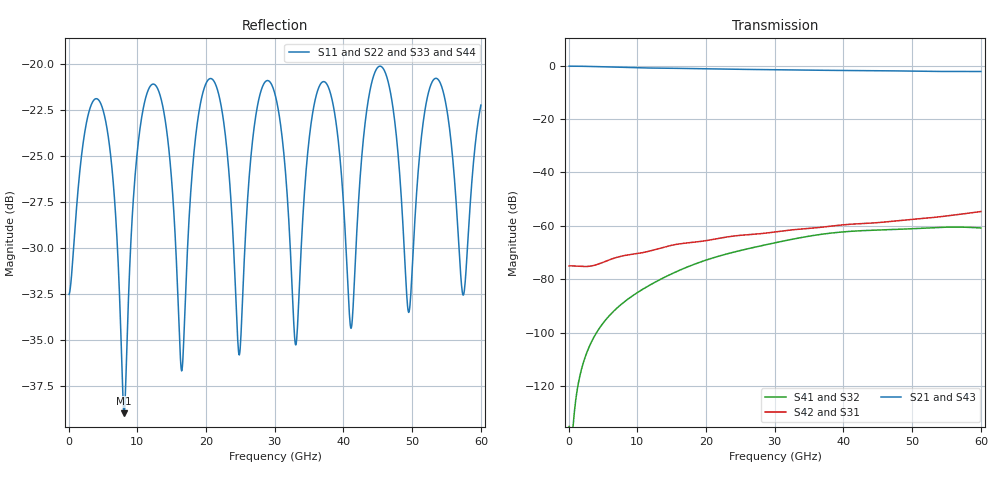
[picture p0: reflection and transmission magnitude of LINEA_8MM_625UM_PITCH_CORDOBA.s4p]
! TOUCHSTONE file generated by CST MICROWAVE STUDIO
! Date and time: Wed Oct 28 09:14:27 2026
! Project name: LINEA_8MM_625UM_PITCH_CORDOBA.cst
! Parameters = {CHANNEL_PITCH=0.625; GAP=0.00415; L=8; L1=0.02; L2=0.086; L3=0.066; NCELL=1; PITCH=0.18; START_POSITION=0.13; W1=0.003; W2=0.004; W3=0.009; WG=0.04985; gap_oxr=0.00125; linbo3_thickness=0.0002; mtx=0.002; oxiDinE=0.0014; w=0.185; ws=0.035}
! Header version: 2024
! Port assignment regex: !\s*Touchstone port\s*([0-9]+)\s*=\s*(CST MWS port|CST DES external port|CST DES block port)\s*(.+)\s* \(\"(.*)\"\)(\s*mode\s*([0-9]+))?.*
! Touchstone port assignment:
! Touchstone port 1 = CST MWS port 1 ("")
! Touchstone port 2 = CST MWS port 2 ("")
! Touchstone port 3 = CST MWS port 3 ("")
! Touchstone port 4 = CST MWS port 4 ("")
# GHz S MA R 50
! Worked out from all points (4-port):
!   1000 points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, 60 MHz to 60 GHz, reference 50 ohm
!   strongest paths, dB at 60 MHz, 15.06 GHz, 30.06 GHz, 45.06 GHz, 60 GHz:
!     S21: -0.3, -1.0, -1.5, -1.9, -2.2
!     S43: -0.3, -1.0, -1.5, -1.9, -2.2
!     S42: -75.0, -67.3, -62.3, -58.8, -54.7
!     S31: -75.0, -67.3, -62.3, -58.8, -54.7
!     S41: -135.2, -77.9, -66.4, -61.6, -60.8
!     S32: -135.3, -77.9, -66.4, -61.6, -60.8
!   lowest |S11| = -39.0 dB at 8.04 GHz (marker M1), VSWR 1.02, Z = 48.9 - j0.272 ohm
!   |S11| at or under -10 dB: start of sweep to end of sweep
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0.06  0.02363 -5.6  0.9716 -1.3  0.0001772 -2.9  1.729e-07 173.7
      0.9716 -1.3  0.02363 -5.6  1.727e-07 173.7  0.0001773 -2.9
      0.0001772 -2.9  1.719e-07 173.7  0.02363 -5.6  0.9716 -1.3
      1.741e-07 173.7  0.0001773 -2.9  0.9716 -1.3  0.02363 -5.6
8.04  0.01123 -165.7  0.9195 -176.0  0.0002753 -36.9  3.704e-05 178.9
      0.9195 -176.0  0.0112 -165.6  3.703e-05 178.9  0.0002753 -36.9
      0.0002753 -36.9  3.704e-05 178.9  0.01123 -165.7  0.9195 -176.0
      3.703e-05 178.9  0.0002753 -36.9  0.9195 -176.0  0.0112 -165.6
16.56  0.01513 -151.9  0.8822 1.6  0.0004651 -62.6  0.0001547 -9.0
       0.8822 1.6  0.01519 -152.0  0.0001547 -9.0  0.0004653 -62.6
       0.0004651 -62.6  0.0001547 -9.0  0.01513 -151.9  0.8822 1.6
       0.0001547 -9.0  0.0004653 -62.6  0.8822 1.6  0.01519 -152.0
24.72  0.01653 -174.2  0.8485 -173.0  0.0006563 -64.1  0.000337 165.7
       0.8485 -173.0  0.01637 -174.2  0.000337 165.7  0.0006562 -64.0
       0.0006563 -64.1  0.000337 165.7  0.01653 -174.2  0.8485 -173.0
       0.000337 165.7  0.0006562 -64.0  0.8485 -173.0  0.01637 -174.2
33.42  0.02133 -132.3  0.8272 1.0  0.0008573 -89.8  0.0005866 -32.1
       0.8272 1.0  0.0214 -132.6  0.0005866 -32.1  0.000858 -89.8
       0.0008573 -89.8  0.0005866 -32.1  0.02133 -132.3  0.8272 1.0
       0.0005866 -32.1  0.000858 -89.8  0.8272 1.0  0.0214 -132.6
41.4  0.02187 -132.6  0.8043 -169.1  0.001075 -84.9  0.0007911 138.9
      0.8043 -169.1  0.02165 -132.1  0.0007911 138.9  0.001074 -84.8
      0.001075 -84.9  0.0007911 138.9  0.02187 -132.6  0.8043 -169.1
      0.0007911 138.9  0.001074 -84.8  0.8043 -169.1  0.02165 -132.1
60  0.07722 -125.7  0.7723 153.1  0.001843 144.6  0.0009075 63.1
    0.7723 153.1  0.07724 -125.9  0.0009075 63.1  0.001843 144.7
    0.001843 144.6  0.0009075 63.1  0.07723 -125.7  0.7723 153.1
    0.0009075 63.1  0.001843 144.7  0.7723 153.1  0.07723 -125.9
